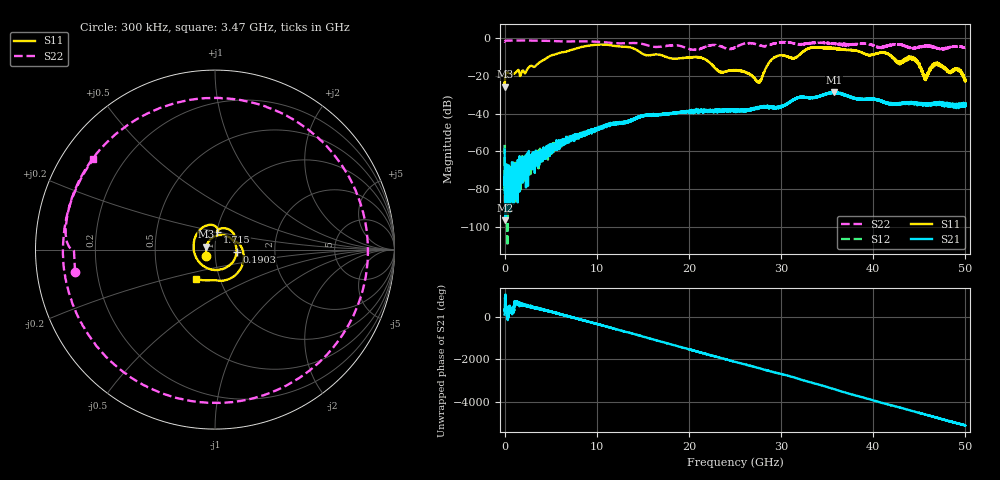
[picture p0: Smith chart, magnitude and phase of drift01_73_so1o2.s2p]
!Created with skrf (http://scikit-rf.org).
# Hz S RI R 50.0
!freq ReS11 ImS11 ReS21 ImS21 ReS12 ImS12 ReS22 ImS22
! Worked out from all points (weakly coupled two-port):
!   10001 points, 300 kHz to 50 GHz, reference 50 ohm
!   highest |S21| = -28.74 dB at 35.74 GHz (marker M1); lowest = -96.5 dB at 85.3 MHz (marker M2)
!   lowest |S11| = -25.8 dB at 5.3 MHz (marker M3), VSWR 1.11, Z = 45.3 + j1.43 ohm
!   |S11| at or under -10 dB: start of sweep to 4.765 GHz; 17.52 GHz to 29.38 GHz (11.86 GHz wide, 50.6 % of centre); 44.11 GHz to end of sweep (the widest 3 of 11)
!   |S22| runs from -6.4 to -1.4 dB; largest |S21 - S12| = 0.0044
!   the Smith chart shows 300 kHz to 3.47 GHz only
!   S11 on the Smith chart (normalised r, x): 300 kHz: 0.90, -0.07; 190.3 MHz: 1.27, -0.03; 1.715 GHz: 1.00, +0.20; 3.47 GHz: 0.77, -0.26
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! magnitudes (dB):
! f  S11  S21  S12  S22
! 300 kHz  -24.0  -59.0  -56.5  -2.1
! 5.3 MHz  -25.8  -77.4  -79.0  -2.1
! 85.3 MHz  -19.4  -96.5  -75.5  -1.5
! 190.3 MHz  -18.3  -76.0  -71.1  -1.4
! 375.3 MHz  -18.4  -72.8  -80.6  -1.4
! 1.715 GHz  -19.9  -76.8  -68.0  -1.4
! 3.47 GHz  -14.3  -66.8  -64.1  -1.5
! 8.335 GHz  -4.8  -51.6  -51.5  -1.8
! 16.67 GHz  -8.8  -40.7  -40.7  -4.8
! 25 GHz  -17.0  -37.8  -38.2  -5.0
! 27.59 GHz  -23.3  -36.6  -36.8  -3.7
! 29.3 GHz  -10.3  -36.8  -36.7  -2.9
! 31.48 GHz  -10.7  -32.2  -32.3  -2.9
! 33.34 GHz  -5.1  -31.7  -31.5  -2.7
! 35.74 GHz  -5.5  -28.7  -28.9  -3.2
! 41.67 GHz  -8.6  -34.7  -34.9  -3.8
! 42.8 GHz  -12.8  -35.0  -34.7  -3.5
! 44.5 GHz  -10.9  -34.8  -34.3  -5.2
! 45.63 GHz  -20.5  -35.1  -35.1  -4.3
! 46.94 GHz  -13.5  -34.4  -34.4  -5.5
! 49.28 GHz  -17.3  -35.7  -35.4  -4.6
! 50 GHz  -22.5  -34.5  -35.0  -5.2
